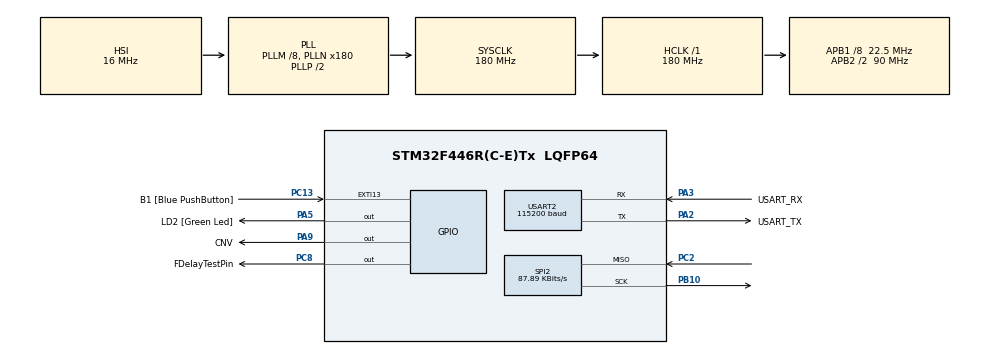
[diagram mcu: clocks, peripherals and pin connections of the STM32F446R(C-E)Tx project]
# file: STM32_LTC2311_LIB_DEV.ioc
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Mcu.Family=STM32F4
Mcu.Name=STM32F446R(C-E)Tx
Mcu.Package=LQFP64
NVIC.PriorityGroup=NVIC_PRIORITYGROUP_0
PA13.GPIO_Label=TMS
PA13.Mode=Serial_Wire
PA13.Signal=SYS_JTMS-SWDIO
PA14.GPIO_Label=TCK
PA14.Mode=Serial_Wire
PA14.Signal=SYS_JTCK-SWCLK
PA2.GPIO_Label=USART_TX
PA2.Mode=Asynchronous
PA2.Signal=USART2_TX
PA3.GPIO_Label=USART_RX
PA3.Mode=Asynchronous
PA3.Signal=USART2_RX
PA5.GPIO_Label=LD2 [Green Led]
PA5.Signal=GPIO_Output
PA9.GPIO_Label=CNV
PA9.GPIO_Speed=GPIO_SPEED_FREQ_VERY_HIGH
PA9.Signal=GPIO_Output
PB10.Mode=RX_Only_Simplex_Unidirect_Master
PB10.Signal=SPI2_SCK
PB3.GPIO_Label=SWO
PB3.Signal=SYS_JTDO-SWO
PC13.GPIO_Label=B1 [Blue PushButton]
PC13.GPIO_ModeDefaultEXTI=GPIO_MODE_IT_FALLING
PC13.Signal=GPXTI13
PC14-OSC32_IN.Mode=LSE-External-Oscillator
PC14-OSC32_IN.Signal=RCC_OSC32_IN
PC15-OSC32_OUT.Mode=LSE-External-Oscillator
PC15-OSC32_OUT.Signal=RCC_OSC32_OUT
PC2.Mode=RX_Only_Simplex_Unidirect_Master
PC2.Signal=SPI2_MISO
PC8.GPIO_Label=FDelayTestPin
PC8.GPIO_Speed=GPIO_SPEED_FREQ_VERY_HIGH
PC8.Signal=GPIO_Output
PH0-OSC_IN.Mode=HSE-External-Oscillator
PH0-OSC_IN.Signal=RCC_OSC_IN
PH1-OSC_OUT.Mode=HSE-External-Oscillator
PH1-OSC_OUT.Signal=RCC_OSC_OUT
ProjectManager.HeapSize=0x200
ProjectManager.StackSize=0x400
ProjectManager.TargetToolchain=STM32CubeIDE
RCC.48MHZClocksFreq_Value=84000000
RCC.AHBFreq_Value=180000000
RCC.APB1CLKDivider=RCC_HCLK_DIV8
RCC.APB1Freq_Value=22500000
RCC.APB1TimFreq_Value=45000000
RCC.APB2CLKDivider=RCC_HCLK_DIV2
RCC.APB2Freq_Value=90000000
RCC.APB2TimFreq_Value=180000000
RCC.CortexFreq_Value=180000000
RCC.FLatency-AdvancedSettings=FLASH_LATENCY_5
RCC.HCLKFreq_Value=180000000
RCC.HSE_VALUE=8000000
RCC.HSI_VALUE=16000000
RCC.PLLM=8
RCC.PLLN=180
RCC.SYSCLKFreq_VALUE=180000000
RCC.SYSCLKSource=RCC_SYSCLKSOURCE_PLLCLK
RCC.USBFreq_Value=180000000
RCC.VCOOutputFreq_Value=360000000
SPI2.BaudRatePrescaler=SPI_BAUDRATEPRESCALER_256
SPI2.CLKPolarity=SPI_POLARITY_HIGH
SPI2.CalculateBaudRate=87.89 KBits/s
SPI2.DataSize=SPI_DATASIZE_8BIT
SPI2.Direction=SPI_DIRECTION_2LINES_RXONLY
SPI2.Mode=SPI_MODE_MASTER
SPI2.VirtualType=VM_MASTER
TIM14.AutoReloadPreload=TIM_AUTORELOAD_PRELOAD_DISABLE
TIM14.Period=65536 - 1
TIM14.Prescaler=45-1
USART2.BaudRate=115200
USART2.VirtualMode=VM_ASYNC
VP_TIM14_VS_ClockSourceINT.Mode=Enable_Timer
board=NUCLEO-F446RE

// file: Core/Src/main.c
/* USER CODE BEGIN Header */
/**
  ******************************************************************************
  * @file           : main.c
  * @brief          : Main program body
  ******************************************************************************
  * @attention
  *
  * Copyright (c) 2024 STMicroelectronics.
  * All rights reserved.
  *
  * This software is licensed under terms that can be found in the LICENSE file
  * in the root directory of this software component.
  * If no LICENSE file comes with this software, it is provided AS-IS.
  *
  ******************************************************************************
  */
/* USER CODE END Header */
#include "main.h"

/* USER CODE BEGIN Includes */

#include <stdio.h>
#include <string.h>

/* USER CODE END Includes */

SPI_HandleTypeDef hspi2;

TIM_HandleTypeDef htim14;

UART_HandleTypeDef huart2;

void SystemClock_Config(void);
static void MX_GPIO_Init(void);
static void MX_USART2_UART_Init(void);
static void MX_SPI2_Init(void);
static void MX_TIM14_Init(void);

/* USER CODE BEGIN 0 */

uint8_t FloatToString(float input, char *output){
	uint8_t stringSize = sprintf(output, "\r\n%f", input);
	return stringSize;
}

float ConvertADCVoltage(uint16_t rawADC){
	//Resolution = (VREFOUT * 2)/2^16 = 0.000125
	//float res = 0.000125;
	//With 5V supply Resolution = 0.000250
	//float res = 0.00025;
	//With 5V Supply and 5V external reference on REFOUT && REFIN grounded res = 0.0003055
	float res = 0.0003055;
	return (res * rawADC);
}

void TimingDelayUS(uint32_t us) {
	if (us == 1) {
		__HAL_TIM_SET_COUNTER(&htim14, 0);
		while (__HAL_TIM_GET_COUNTER(&htim14) != 1);
	} else {
		__HAL_TIM_SET_COUNTER(&htim14, 0);
		while (__HAL_TIM_GET_COUNTER(&htim14) != us);
	}
}

uint16_t BytesToWord(uint8_t highByte, uint8_t lowByte){
	uint16_t resultWord = 0;
	resultWord = (highByte << 8) + lowByte;
	return resultWord;
}
/* uint8_t *ToBinaryArray(uint8_t highByte, uint8_t lowByte)
 * The function take two bytes, where they are assumed to form a single 16 bit value. One is the
 * upper 8 bits, the other is the lower 8 bits. The function will convert the two bytes into a single
 * array where the max array index is the MSB of the 16 bit value. The resulting binary array is locally
 * stored in the function.
 * Input: (uint8_t highByte, uint8_t lowByte)
 * Output: (uint8_t *binaryArray (pointer))
 * */
uint8_t *ToBinaryArray(uint8_t highByte, uint8_t lowByte){
	static uint8_t binaryArray[16];

	for (int i = 0; i < 8; i++) {
		if(((highByte) & (1 << i)) >= 1){
			binaryArray[i + 8] = 1;
		}else{
			binaryArray[i + 8] = 0;
		}
		if(((lowByte) & (1 << i)) >= 1){
			binaryArray[i] = 1;
		}else{
			binaryArray[i] = 0;
		}
	}
	return &binaryArray[0];
}
/*	int8_t IntToASCII(uint8_t integer)
 *The function takes a (uint8_t) integer value and converts it to the corresponding ASCII value.
 *Input: (uint8_t) value
 *Output: (int8_t) ASCII
 * */
int8_t IntToASCII(uint8_t integer){
	return integer + '0';
}
/*	uint8_t FlipArray(uint8_t *arr)
 * 	The function take a pointer to a uint8_t array of size 16 and will flip it over,
 * 	this means that the source arrays LSB will be MSB in destination array, and vice versa.
 * 	Input: (uint8_t *) pointer to source array. Max array length 16.
 * 	Output: (uint8_t *) pointer to destination array. Max array length is 16. The array is local
 * 	to the function and will be overwritten on function call.
 * */
uint8_t * FlipArray(uint8_t *arr){

	static uint8_t newArray[16];
	for(uint8_t i = 16; i > 0; i--){
		newArray[i - 1] = *arr;
		arr++;
	}
	return &newArray[0];
}
/* void ADCTXBinary(UART_HandleTypeDef *uartHandle, uint8_t highByte, uint8_t lowByte)
 * Transmits the contents of the SPI Buffer in a binary format over UART.
 * Input: (UART_HandleTypeDef *uartHandle) - Handle for UART module
 * Input: (uint8_t highByte) - bits 15-8of SPI Buffer
 * Input: (uint8_t lowByte) - bits 7- 0 of SPI buffer
 * Output: void
 * */
void ADCTxBinary(UART_HandleTypeDef *uartHandle, uint8_t highByte, uint8_t lowByte){
	uint8_t *ptrBinArr = NULL; //Local array size is 16
	uint8_t *ptrFlippedBinArr = NULL; //Local array size is 16
	char termStrLineFeed[] = "\r\n\0"; //Generate return carriage, line feed and message terminator
	char bitString[25];

	ptrBinArr = ToBinaryArray(highByte, lowByte); //Convert SPI Buffer values to a array holding a total of 16 bits
	ptrFlippedBinArr = FlipArray(ptrBinArr); //Flip the array around to MSB is in the max array index.

	for (int i = 0; i < 16; i++){ //Generate a string of 1's and 0's bases on the flipped array.
		//leftJustBinArray[i] = *ptrFlippedBinArr;
		//stringTest[i] = IntegerToASCII(binaryArray[i]);
		bitString[i] = IntToASCII(*ptrFlippedBinArr);
		ptrFlippedBinArr++;
	}
	//HAL_UART_Transmit(&huart2, (uint8_t*)ASCIIString, 16, HAL_MAX_DELAY);
	HAL_UART_Transmit(uartHandle, (uint8_t*)bitString, 16, HAL_MAX_DELAY);
	HAL_UART_Transmit(uartHandle, (uint8_t*)termStrLineFeed, 3, HAL_MAX_DELAY);

}

void ADCTxVoltage(UART_HandleTypeDef *uartHandle, float voltage){
	char ADCVoltageString[10];
	uint8_t size = sprintf(ADCVoltageString, "%f\r\n", voltage);
	HAL_UART_Transmit(uartHandle, (uint8_t*)ADCVoltageString, size, HAL_MAX_DELAY);
}

/* USER CODE END 0 */

int main(void)
{

  /* USER CODE BEGIN 1 */
	uint8_t SPIBuf[2];
	SPIBuf[0] = 0;
	SPIBuf[1] = 0;
	uint16_t SPIWord = 0;
	float ADCVoltage = 0;
	uint8_t size;

	char *floatval;

	char testString[25];
  /* USER CODE END 1 */

  /* MCU Configuration--------------------------------------------------------*/

  /* Reset of all peripherals, Initializes the Flash interface and the Systick. */
  HAL_Init();

  /* Configure the system clock */
  SystemClock_Config();

  /* Initialize all configured peripherals */
  MX_GPIO_Init();
  MX_USART2_UART_Init();
  MX_SPI2_Init();
  MX_TIM14_Init();
  /* USER CODE BEGIN 2 */

  //Start counting on timer 14 - HUSK!!
  HAL_TIM_Base_Start(&htim14);
  //TimingInit(14, &htim14, uint32_t setTmrTickFreq, enum __Purpose purpose)
  /* USER CODE END 2 */

  /* Infinite loop */
  /* USER CODE BEGIN WHILE */
  while (1)
  {
		HAL_GPIO_WritePin(GPIOA, CNV_Pin, GPIO_PIN_SET);
		TimingDelayUS(1);
		HAL_GPIO_WritePin(GPIOA, CNV_Pin, GPIO_PIN_RESET);
		HAL_SPI_Receive(&hspi2, (uint8_t*) SPIBuf, 2, 100);
		//ADCTxBinary(&huart2, SPIBuf[0], SPIBuf[1]); //UART TX the contents of SPI Buffer in binary
		SPIWord = BytesToWord(SPIBuf[0], SPIBuf[1]);
		ADCVoltage = ConvertADCVoltage(SPIWord);
		ADCTxVoltage(&huart2, ADCVoltage);

		//HAL_Delay(100);

    /* USER CODE END WHILE */

	}
}

void SystemClock_Config(void)
{
  RCC_OscInitTypeDef RCC_OscInitStruct = {0};
  RCC_ClkInitTypeDef RCC_ClkInitStruct = {0};

  /** Configure the main internal regulator output voltage
  */
  __HAL_RCC_PWR_CLK_ENABLE();
  __HAL_PWR_VOLTAGESCALING_CONFIG(PWR_REGULATOR_VOLTAGE_SCALE1);

  /** Initializes the RCC Oscillators according to the specified parameters
  * in the RCC_OscInitTypeDef structure.
  */
  RCC_OscInitStruct.OscillatorType = RCC_OSCILLATORTYPE_HSI;
  RCC_OscInitStruct.HSIState = RCC_HSI_ON;
  RCC_OscInitStruct.HSICalibrationValue = RCC_HSICALIBRATION_DEFAULT;
  RCC_OscInitStruct.PLL.PLLState = RCC_PLL_ON;
  RCC_OscInitStruct.PLL.PLLSource = RCC_PLLSOURCE_HSI;
  RCC_OscInitStruct.PLL.PLLM = 8;
  RCC_OscInitStruct.PLL.PLLN = 180;
  RCC_OscInitStruct.PLL.PLLP = RCC_PLLP_DIV2;
  RCC_OscInitStruct.PLL.PLLQ = 2;
  RCC_OscInitStruct.PLL.PLLR = 2;
  if (HAL_RCC_OscConfig(&RCC_OscInitStruct) != HAL_OK)
  {
    Error_Handler();
  }

  /** Activate the Over-Drive mode
  */
  if (HAL_PWREx_EnableOverDrive() != HAL_OK)
  {
    Error_Handler();
  }

  /** Initializes the CPU, AHB and APB buses clocks
  */
  RCC_ClkInitStruct.ClockType = RCC_CLOCKTYPE_HCLK|RCC_CLOCKTYPE_SYSCLK
                              |RCC_CLOCKTYPE_PCLK1|RCC_CLOCKTYPE_PCLK2;
  RCC_ClkInitStruct.SYSCLKSource = RCC_SYSCLKSOURCE_PLLCLK;
  RCC_ClkInitStruct.AHBCLKDivider = RCC_SYSCLK_DIV1;
  RCC_ClkInitStruct.APB1CLKDivider = RCC_HCLK_DIV8;
  RCC_ClkInitStruct.APB2CLKDivider = RCC_HCLK_DIV2;

  if (HAL_RCC_ClockConfig(&RCC_ClkInitStruct, FLASH_LATENCY_5) != HAL_OK)
  {
    Error_Handler();
  }
}

static void MX_SPI2_Init(void)
{

  /* SPI2 parameter configuration*/
  hspi2.Instance = SPI2;
  hspi2.Init.Mode = SPI_MODE_MASTER;
  hspi2.Init.Direction = SPI_DIRECTION_2LINES_RXONLY;
  hspi2.Init.DataSize = SPI_DATASIZE_8BIT;
  hspi2.Init.CLKPolarity = SPI_POLARITY_HIGH;
  hspi2.Init.CLKPhase = SPI_PHASE_1EDGE;
  hspi2.Init.NSS = SPI_NSS_SOFT;
  hspi2.Init.BaudRatePrescaler = SPI_BAUDRATEPRESCALER_256;
  hspi2.Init.FirstBit = SPI_FIRSTBIT_MSB;
  hspi2.Init.TIMode = SPI_TIMODE_DISABLE;
  hspi2.Init.CRCCalculation = SPI_CRCCALCULATION_DISABLE;
  hspi2.Init.CRCPolynomial = 10;
  if (HAL_SPI_Init(&hspi2) != HAL_OK)
  {
    Error_Handler();
  }

}

static void MX_TIM14_Init(void)
{

  htim14.Instance = TIM14;
  htim14.Init.Prescaler = 45-1;
  htim14.Init.CounterMode = TIM_COUNTERMODE_UP;
  htim14.Init.Period = 65536 - 1;
  htim14.Init.ClockDivision = TIM_CLOCKDIVISION_DIV1;
  htim14.Init.AutoReloadPreload = TIM_AUTORELOAD_PRELOAD_DISABLE;
  if (HAL_TIM_Base_Init(&htim14) != HAL_OK)
  {
    Error_Handler();
  }

}

static void MX_USART2_UART_Init(void)
{

  huart2.Instance = USART2;
  huart2.Init.BaudRate = 115200;
  huart2.Init.WordLength = UART_WORDLENGTH_8B;
  huart2.Init.StopBits = UART_STOPBITS_1;
  huart2.Init.Parity = UART_PARITY_NONE;
  huart2.Init.Mode = UART_MODE_TX_RX;
  huart2.Init.HwFlowCtl = UART_HWCONTROL_NONE;
  huart2.Init.OverSampling = UART_OVERSAMPLING_16;
  if (HAL_UART_Init(&huart2) != HAL_OK)
  {
    Error_Handler();
  }

}

static void MX_GPIO_Init(void)
{
  GPIO_InitTypeDef GPIO_InitStruct = {0};

  /* GPIO Ports Clock Enable */
  __HAL_RCC_GPIOC_CLK_ENABLE();
  __HAL_RCC_GPIOH_CLK_ENABLE();
  __HAL_RCC_GPIOA_CLK_ENABLE();
  __HAL_RCC_GPIOB_CLK_ENABLE();

  /*Configure GPIO pin Output Level */
  HAL_GPIO_WritePin(GPIOA, LD2_Pin|CNV_Pin, GPIO_PIN_RESET);

  /*Configure GPIO pin Output Level */
  HAL_GPIO_WritePin(FDelayTestPin_GPIO_Port, FDelayTestPin_Pin, GPIO_PIN_RESET);

  /*Configure GPIO pin : B1_Pin */
  GPIO_InitStruct.Pin = B1_Pin;
  GPIO_InitStruct.Mode = GPIO_MODE_IT_FALLING;
  GPIO_InitStruct.Pull = GPIO_NOPULL;
  HAL_GPIO_Init(B1_GPIO_Port, &GPIO_InitStruct);

  /*Configure GPIO pin : LD2_Pin */
  GPIO_InitStruct.Pin = LD2_Pin;
  GPIO_InitStruct.Mode = GPIO_MODE_OUTPUT_PP;
  GPIO_InitStruct.Pull = GPIO_NOPULL;
  GPIO_InitStruct.Speed = GPIO_SPEED_FREQ_LOW;
  HAL_GPIO_Init(LD2_GPIO_Port, &GPIO_InitStruct);

  /*Configure GPIO pin : FDelayTestPin_Pin */
  GPIO_InitStruct.Pin = FDelayTestPin_Pin;
  GPIO_InitStruct.Mode = GPIO_MODE_OUTPUT_PP;
  GPIO_InitStruct.Pull = GPIO_NOPULL;
  GPIO_InitStruct.Speed = GPIO_SPEED_FREQ_VERY_HIGH;
  HAL_GPIO_Init(FDelayTestPin_GPIO_Port, &GPIO_InitStruct);

  /*Configure GPIO pin : CNV_Pin */
  GPIO_InitStruct.Pin = CNV_Pin;
  GPIO_InitStruct.Mode = GPIO_MODE_OUTPUT_PP;
  GPIO_InitStruct.Pull = GPIO_NOPULL;
  GPIO_InitStruct.Speed = GPIO_SPEED_FREQ_VERY_HIGH;
  HAL_GPIO_Init(CNV_GPIO_Port, &GPIO_InitStruct);

}

void Error_Handler(void)
{
  __disable_irq();
  while (1)
  {
  }
}
